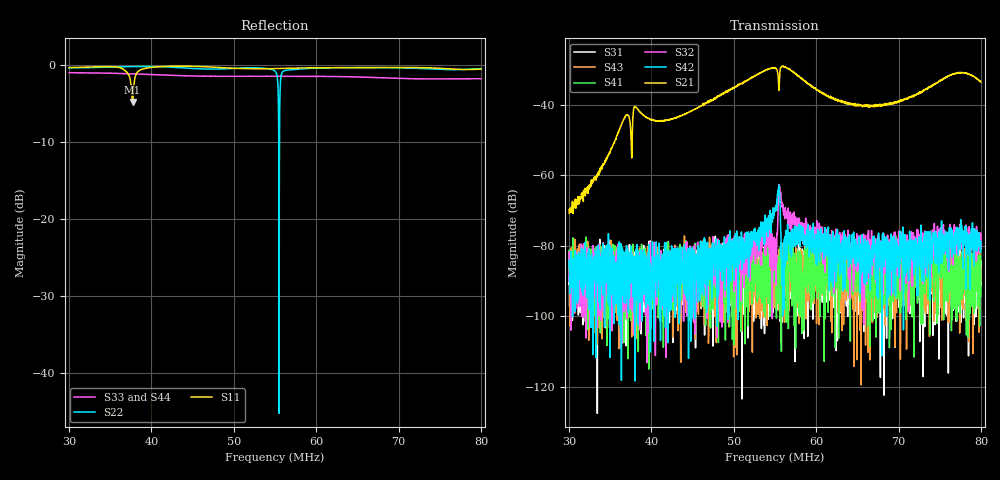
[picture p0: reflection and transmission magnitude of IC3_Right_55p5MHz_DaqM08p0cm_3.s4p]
#  HZ  S  DB  R  50.00
! Rohde & Schwarz Vector Network Analyzer
! Rohde-Schwarz,ZNB8-4Port,1311601044102961,2.82
! Created: UTC 2/13/2019, 2:09:46 PM
! freq[Hz]  db:S11  ang:S11  db:S12  ang:S12  db:S13  ang:S13  db:S14  ang:S14
!  db:S21  ang:S21  db:S22  ang:S22  db:S23  ang:S23  db:S24  ang:S24
!  db:S31  ang:S31  db:S32  ang:S32  db:S33  ang:S33  db:S34  ang:S34
!  db:S41  ang:S41  db:S42  ang:S42  db:S43  ang:S43  db:S44  ang:S44
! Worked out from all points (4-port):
!   2001 points, 30 MHz to 80 MHz, reference 50 ohm
!   strongest paths, dB at 30 MHz, 42.5 MHz, 55 MHz, 67.5 MHz, 80 MHz:
!     S21: -70.8, -43.9, -29.5, -40.3, -33.6
!     S42: -84.1, -93.6, -70.3, -83.8, -78.9
!     S32: -90.1, -90.1, -80.7, -89.5, -80.9
!     S41: -86.5, -91.6, -82.0, -84.4, -94.2
!     S43: -88.1, -92.4, -97.5, -85.3, -90.1
!     S31: -90.9, -88.0, -93.1, -84.3, -90.9
!   lowest |S11| = -4.8 dB at 37.7 MHz (marker M1), VSWR 3.74, Z = 108 - j86.4 ohm
!   |S11| at or under -10 dB: nowhere
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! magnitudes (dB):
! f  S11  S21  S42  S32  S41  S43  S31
! 30 MHz  -0.3  -70.8  -84.1  -90.1  -86.5  -88.1  -90.9
! 37.7 MHz  -4.8  -46.1  -87.3  -93.0  -89.5  -85.2  -91.7
! 54.98 MHz  -0.4  -29.6  -69.8  -78.2  -80.9  -84.8  -90.0
! 55.65 MHz  -0.4  -29.7  -71.1  -65.7  -80.4  -85.9  -88.2
! 56.02 MHz  -0.4  -29.2  -80.0  -69.9  -89.0  -93.3  -80.4
! 60.85 MHz  -0.3  -36.7  -81.1  -81.7  -82.5  -86.8  -81.0
! 80 MHz  -0.5  -33.6  -78.9  -80.9  -94.2  -90.1  -90.9
